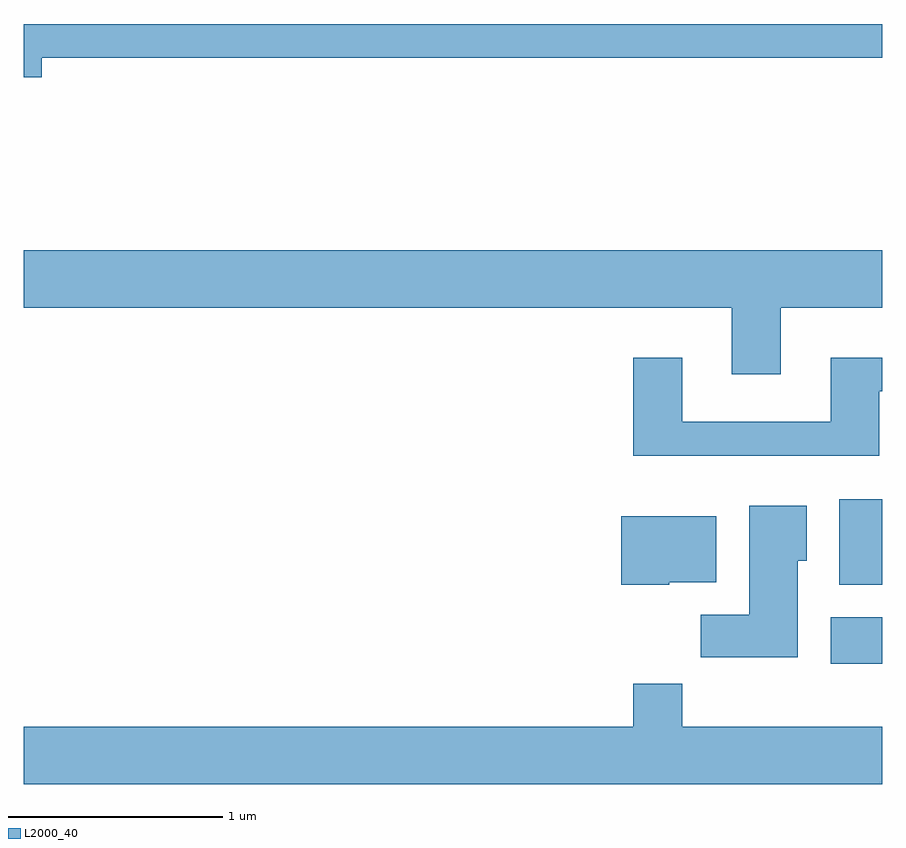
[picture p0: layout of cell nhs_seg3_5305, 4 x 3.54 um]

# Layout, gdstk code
import gdstk
lib = gdstk.Library(unit=1e-6, precision=1e-09)
def R(c, l, rs):  # rectangles x0, y0, x1, y1
    for r in rs: c.add(gdstk.rectangle(r[:2], r[2:], *l))
def P(c, l, *ps):  # polygons
    for p in ps: c.add(gdstk.Polygon(p, *l))
L2000_40 = (2000, 40)

nhs_seg3_5305 = lib.new_cell('nhs_seg3_5305')
R(nhs_seg3_5305, L2000_40, [(345.371,1126.576,345.611,1126.794), (345.411,1126.946,345.611,1127.344)])
P(nhs_seg3_5305, L2000_40, [(341.694,1129.401),(345.611,1129.401),(345.611,1129.559),(341.611,1129.559),(341.611,1129.311),(341.694,1129.311)],
  [(345.139,1128.236),(345.611,1128.236),(345.611,1128.504),(341.611,1128.504),(341.611,1128.236),(344.911,1128.236),(344.911,1127.926),(345.139,1127.926)],
  [(345.599,1127.846),(345.611,1127.846),(345.611,1128.004),(345.371,1128.004),(345.371,1127.704),(344.679,1127.704),(344.679,1128.004),(344.451,1128.004),(344.451,1127.546),(345.599,1127.546)],
  [(345.219,1127.056),(345.259,1127.056),(345.259,1127.314),(344.991,1127.314),(344.991,1126.804),(344.766,1126.804),(344.766,1126.606),(345.219,1126.606)],
  [(344.62,1126.956),(344.839,1126.956),(344.839,1127.264),(344.396,1127.264),(344.396,1126.946),(344.62,1126.946)],
  [(345.611,1126.284),(344.679,1126.284),(344.679,1126.484),(344.451,1126.484),(344.451,1126.284),(341.611,1126.284),(341.611,1126.016),(345.611,1126.016)])

lib.write_gds('nhs_seg3_5305.gds')
